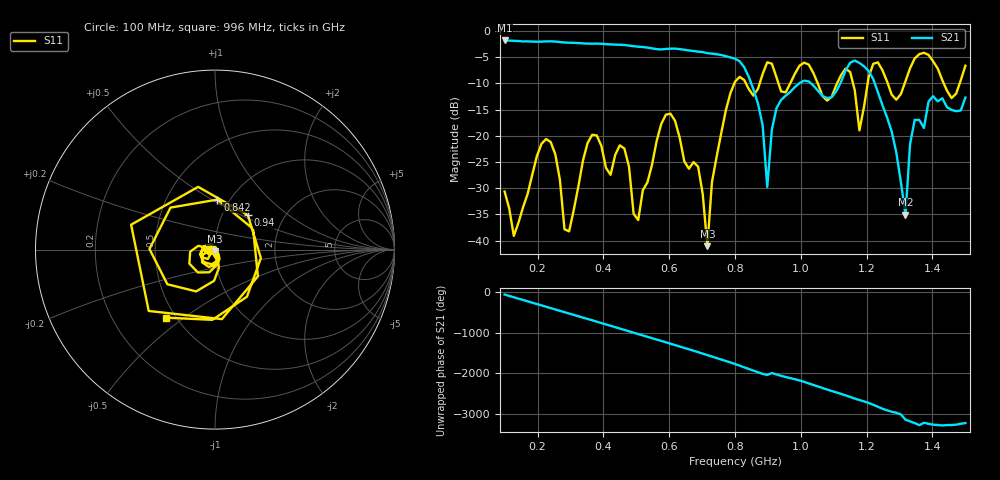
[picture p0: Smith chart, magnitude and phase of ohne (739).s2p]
! NanoVNA-App
! Date: 2025-09-25 14:26:33
! Start: 100MHz Stop: 1,5GHz Points: 101
! S-Parameter data: F S11 S21 S12 S22
# Hz S RI R 50
!  Frequency  S11_Real  S11_Imag  S21_Real  S21_Imag  S12_Real  S12_Imag  S22_Real  S22_Imag
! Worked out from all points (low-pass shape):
!   101 points, 100 MHz to 1.5 GHz, reference 50 ohm
!   highest |S21| = -1.79 dB at 100 MHz (marker M1); lowest = -35.0 dB at 1.318 GHz (marker M2)
!   |S21| within 3 dB of the highest: start of sweep to 772.1 MHz
!   lowest |S11| = -41.1 dB at 716 MHz (marker M3), VSWR 1.02, Z = 49.8 - j0.861 ohm
!   |S11| at or under -10 dB: start of sweep to 797.9 MHz; 833.2 MHz to 875 MHz (41.77 MHz wide, 4.89 % of centre); 1.052 GHz to 1.11 GHz (58.51 MHz wide, 5.41 % of centre) (the widest 3 of 7)
!   S12 and S22 are empty: the file has one direction only
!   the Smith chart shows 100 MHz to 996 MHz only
!   S11 on the Smith chart (normalised r, x): 100 MHz: 0.94, -0.01; 842 MHz: 0.88, +0.53; 940 MHz: 1.32, +0.55; 996 MHz: 0.44, -0.43
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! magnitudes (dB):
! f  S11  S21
! 100 MHz  -30.6  -1.8
! 128 MHz  -39.1  -1.9
! 226 MHz  -20.6  -2.0
! 296 MHz  -38.2  -2.2
! 338 MHz  -24.7  -2.4
! 464 MHz  -22.4  -2.7
! 506 MHz  -36.1  -3.0
! 576 MHz  -17.7  -3.5
! 688 MHz  -25.9  -3.9
! 716 MHz  -41.1  -4.2
! 800 MHz  -9.7  -5.3
! 842 MHz  -11.1  -8.8
! 898 MHz  -6.0  -29.8
! 940 MHz  -11.5  -13.2
! 996 MHz  -6.6  -9.9
! 1.038 GHz  -8.0  -10.4
! 1.178 GHz  -19.0  -6.1
! 1.22 GHz  -6.3  -9.2
! 1.276 GHz  -12.1  -19.2
! 1.318 GHz  -9.6  -35.0
! 1.346 GHz  -5.2  -17.0
! 1.5 GHz  -6.6  -12.7
